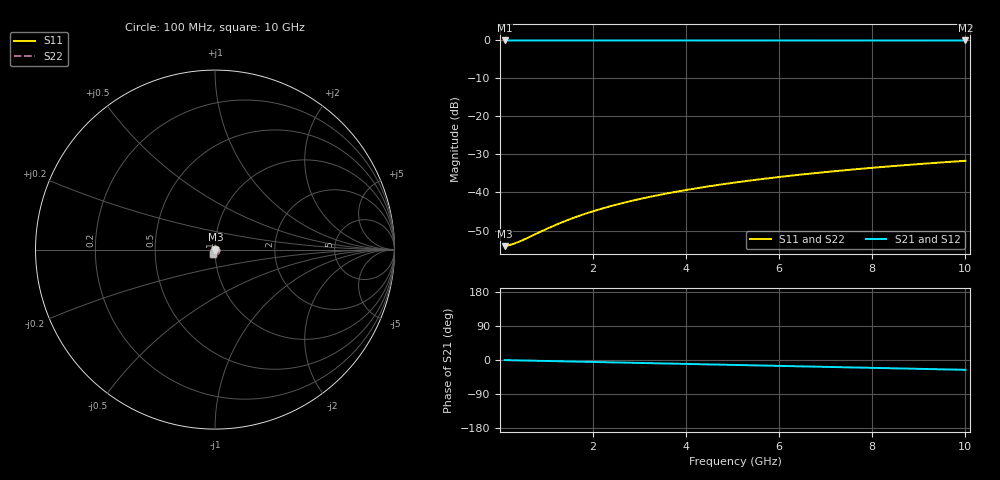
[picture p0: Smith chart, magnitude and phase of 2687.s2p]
# Hz S RI R 50.00
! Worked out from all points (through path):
!   100 points, 100 MHz to 10 GHz, reference 50 ohm
!   highest |S21| = -0.02 dB at 100 MHz (marker M1); lowest = 0.0 dB at 10 GHz (marker M2)
!   group delay of S21, straight-line fit = 7.21 ps
!   lowest |S11| = -54.1 dB at 100 MHz (marker M3), VSWR 1.00, Z = 50.2 - j0.0274 ohm
!   |S11| at or under -10 dB: start of sweep to end of sweep
!   |S22| runs from -54.1 to -31.7 dB; largest |S21 - S12| = 0
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1e8  0.00195 -0.000273  0.998 -0.0045  0.998 -0.0045  0.00195 -0.000273
2e8  0.00196 -0.000547  0.998 -0.00899  0.998 -0.00899  0.00196 -0.000547
3e8  0.00196 -0.00082  0.9979 -0.0135  0.9979 -0.0135  0.00196 -0.00082
4e8  0.00196 -0.00109  0.9978 -0.018  0.9978 -0.018  0.00196 -0.00109
6e8  0.00194 -0.00164  0.9976 -0.027  0.9976 -0.027  0.00194 -0.00164
1e9  0.00187 -0.00273  0.9969 -0.045  0.9969 -0.045  0.00187 -0.00273
1.2e9  0.00182 -0.00328  0.9965 -0.0539  0.9965 -0.0539  0.00182 -0.00328
1.5e9  0.00173 -0.0041  0.9956 -0.0674  0.9956 -0.0674  0.00173 -0.0041
1.8e9  0.00161 -0.00491  0.9946 -0.0809  0.9946 -0.0809  0.00161 -0.00491
2.1e9  0.00147 -0.00573  0.9934 -0.0943  0.9934 -0.0943  0.00147 -0.00573
2.5e9  0.00125 -0.00681  0.9915 -0.1122  0.9915 -0.1122  0.00125 -0.00681
2.9e9  0.000987 -0.00788  0.9893 -0.1301  0.9893 -0.1301  0.000987 -0.00788
3.4e9  0.000606 -0.00921  0.9861 -0.1524  0.9861 -0.1524  0.000606 -0.00921
3.8e9  0.000258 -0.0103  0.9831 -0.1702  0.9831 -0.1702  0.000258 -0.0103
4.2e9  -0.000128 -0.0113  0.9799 -0.188  0.9799 -0.188  -0.000128 -0.0113
4.6e9  -0.000552 -0.0123  0.9763 -0.2057  0.9763 -0.2057  -0.000552 -0.0123
5.1e9  -0.00113 -0.0136  0.9713 -0.2277  0.9713 -0.2277  -0.00113 -0.0136
5.9e9  -0.00218 -0.0156  0.9624 -0.2627  0.9624 -0.2627  -0.00218 -0.0156
6.7e9  -0.00337 -0.0175  0.9521 -0.2974  0.9521 -0.2974  -0.00337 -0.0175
7.5e9  -0.0047 -0.0193  0.9406 -0.3317  0.9406 -0.3317  -0.0047 -0.0193
8.4e9  -0.00634 -0.0212  0.9262 -0.3699  0.9262 -0.3699  -0.00634 -0.0212
1e10  -0.00963 -0.0243  0.8967 -0.4362  0.8967 -0.4362  -0.00963 -0.0243
